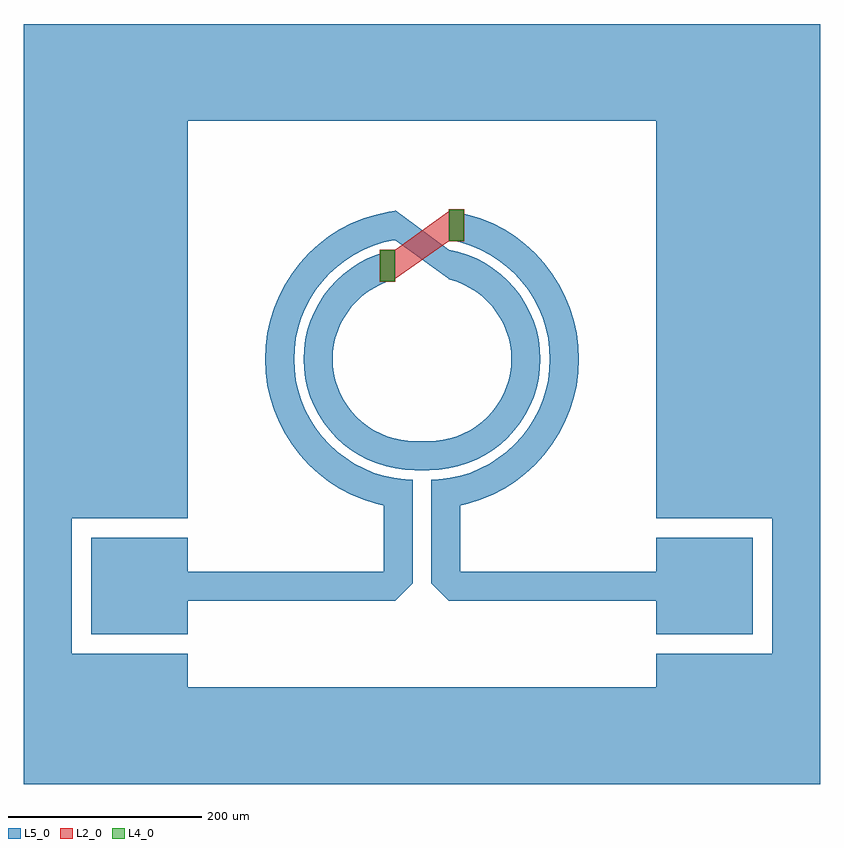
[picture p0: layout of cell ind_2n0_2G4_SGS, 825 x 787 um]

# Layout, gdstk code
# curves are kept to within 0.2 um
import gdstk
lib = gdstk.Library(unit=1e-6, precision=5e-10)
def R(c, l, rs):  # rectangles x0, y0, x1, y1
    for r in rs: c.add(gdstk.rectangle(r[:2], r[2:], *l))
def P(c, l, *ps):  # polygons
    for p in ps: c.add(gdstk.Polygon(p, *l))
L2_0 = (2, 0)
L4_0 = (4, 0)
L5_0 = (5, 0)

ind_2n0_2g4_sgs = lib.new_cell('ind_2n0_2G4_SGS')
R(ind_2n0_2g4_sgs, L2_0, [(-36,145,-20,178), (-36,148,-20,178), (35,187,51,220), (35,187,51,218)])
P(ind_2n0_2g4_sgs, L2_0, [(-20,148),(35,187),(35,218),(-20,178)])
R(ind_2n0_2g4_sgs, L4_0, [(-35.5,145.5,-20.5,177.5), (35.5,187.5,50.5,219.5)])
R(ind_2n0_2g4_sgs, L5_0, [(-405,-248,-355,-93), (370,-248,420,-93), (-335,-220,-235,-120), (250,-220,350,-120), (-32,-110,-2,-60), (17,-110,47,-60), (-405,-100,-235,335), (250,-100,420,335), (0,-50,15,-20), (-36,145,-20,178), (35,187,51,220), (-405,312,420,412)])
P(ind_2n0_2g4_sgs, L5_0, [(22.408,-19.6765),(29.76,-18.7085),(36.9995,-17.1035),(44.0715,-14.874),(50.9225,-12.036),(57.5,-8.612),(63.754,-4.628),(69.637,-0.114),(75.104,4.896),(80.114,10.363),(84.628,16.246),(88.612,22.5),(92.036,29.0775),(94.874,35.9285),(97.1035,43.0005),(98.7085,50.24),(99.6765,57.592),(100,65),(99.6765,72.408),(98.7085,79.76),(97.1035,86.9995),(94.874,94.0715),(92.036,100.9225),(88.612,107.5),(84.628,113.754),(80.114,119.637),(75.104,125.104),(69.637,130.114),(63.754,134.628),(57.5,138.612),(50.9225,142.036),(44.0715,144.874),(35,147.547),(35,178.246),(44.764,176.0815),(54.3325,173.0645),(63.601,169.2255),(72.5,164.593),(80.9615,159.2025),(88.9205,153.095),(96.3175,146.3175),(103.095,138.9205),(109.2025,130.9615),(114.593,122.5),(119.2255,113.601),(123.0645,104.3325),(126.0815,94.764),(128.253,84.9695),(129.5625,75.023),(130,65),(129.5625,54.977),(128.253,45.0305),(126.0815,35.236),(123.0645,25.6675),(119.2255,16.399),(114.593,7.5),(109.2025,-0.9615),(103.095,-8.9205),(96.3175,-16.3175),(88.9205,-23.095),(80.9615,-29.2025),(72.5,-34.593),(63.601,-39.2255),(54.3325,-43.0645),(44.764,-46.0815),(34.9695,-48.253),(25.023,-49.5625),(15,-50),(15,-20)],
  [(-20,219),(35,178),(35,148),(-20,188)],
  [(-7.408,-19.6765),(-14.76,-18.7085),(-21.9995,-17.1035),(-29.0715,-14.874),(-35.9225,-12.036),(-42.5,-8.612),(-48.754,-4.628),(-54.637,-0.114),(-60.104,4.896),(-65.114,10.363),(-69.628,16.246),(-73.612,22.5),(-77.036,29.0775),(-79.874,35.9285),(-82.1035,43.0005),(-83.7085,50.24),(-84.6765,57.592),(-85,65),(-84.6765,72.408),(-83.7085,79.76),(-82.1035,86.9995),(-79.874,94.0715),(-77.036,100.9225),(-73.612,107.5),(-69.628,113.754),(-65.114,119.637),(-60.104,125.104),(-54.637,130.114),(-48.754,134.628),(-42.5,138.612),(-35.9225,142.036),(-29.0715,144.874),(-20,147.547),(-20,178.246),(-29.764,176.0815),(-39.3325,173.0645),(-48.601,169.2255),(-57.5,164.593),(-65.9615,159.2025),(-73.9205,153.095),(-81.3175,146.3175),(-88.095,138.9205),(-94.2025,130.9615),(-99.593,122.5),(-104.2255,113.601),(-108.0645,104.3325),(-111.0815,94.764),(-113.253,84.9695),(-114.5625,75.023),(-115,65),(-114.5625,54.977),(-113.253,45.0305),(-111.0815,35.236),(-108.0645,25.6675),(-104.2255,16.399),(-99.593,7.5),(-94.2025,-0.9615),(-88.095,-8.9205),(-81.3175,-16.3175),(-73.9205,-23.095),(-65.9615,-29.2025),(-57.5,-34.593),(-48.601,-39.2255),(-39.3325,-43.0645),(-29.764,-46.0815),(-19.9695,-48.253),(-10.023,-49.5625),(0,-50),(0,-20)],
  [(-20,218.5555),(-26.9155,217.645),(-40.117,214.7185),(-53.013,210.6525),(-65.506,205.4775),(-77.5,199.234),(-88.9045,191.9685),(-99.632,183.737),(-109.6015,174.6015),(-118.737,164.632),(-126.9685,153.9045),(-134.234,142.5),(-140.4775,130.506),(-145.6525,118.013),(-149.7185,105.117),(-152.645,91.9155),(-154.41,78.509),(-155,65),(-154.41,51.491),(-152.645,38.0845),(-149.7185,24.883),(-145.6525,11.987),(-140.4775,-0.506),(-134.234,-12.5),(-126.9685,-23.9045),(-118.737,-34.632),(-109.6015,-44.6015),(-99.632,-53.737),(-88.9045,-61.9685),(-77.5,-69.234),(-65.506,-75.4775),(-53.013,-80.6525),(-40.117,-84.7185),(-26.9155,-87.645),(-13.509,-89.41),(-10,-89.5635),(-10,-59.5635),(-21.706,-58.101),(-32.3525,-55.7405),(-42.7525,-52.4615),(-52.8275,-48.2885),(-62.5,-43.253),(-71.697,-37.394),(-80.3485,-30.7555),(-88.3885,-23.3885),(-95.7555,-15.3485),(-102.394,-6.697),(-108.253,2.5),(-113.2885,12.1725),(-117.4615,22.2475),(-120.7405,32.6475),(-123.101,43.294),(-124.5245,54.1055),(-125,65),(-124.5245,75.8945),(-123.101,86.706),(-120.7405,97.3525),(-117.4615,107.7525),(-113.2885,117.8275),(-108.253,127.5),(-102.394,136.697),(-95.7555,145.3485),(-88.3885,153.3885),(-80.3485,160.7555),(-71.697,167.394),(-62.5,173.253),(-52.8275,178.2885),(-42.7525,182.4615),(-32.3525,185.7405),(-20,188.3255)],
  [(35,188.3255),(47.3525,185.7405),(57.7525,182.4615),(67.8275,178.2885),(77.5,173.253),(86.697,167.394),(95.3485,160.7555),(103.3885,153.3885),(110.7555,145.3485),(117.394,136.697),(123.253,127.5),(128.2885,117.8275),(132.4615,107.7525),(135.7405,97.3525),(138.101,86.706),(139.5245,75.8945),(140,65),(139.5245,54.1055),(138.101,43.294),(135.7405,32.6475),(132.4615,22.2475),(128.2885,12.1725),(123.253,2.5),(117.394,-6.697),(110.7555,-15.3485),(103.3885,-23.3885),(95.3485,-30.7555),(86.697,-37.394),(77.5,-43.253),(67.8275,-48.2885),(57.7525,-52.4615),(47.3525,-55.7405),(36.706,-58.101),(25,-59.5635),(25,-89.5635),(28.509,-89.41),(41.9155,-87.645),(55.117,-84.7185),(68.013,-80.6525),(80.506,-75.4775),(92.5,-69.234),(103.9045,-61.9685),(114.632,-53.737),(124.6015,-44.6015),(133.737,-34.632),(141.9685,-23.9045),(149.234,-12.5),(155.4775,-0.506),(160.6525,11.987),(164.7185,24.883),(167.645,38.0845),(169.41,51.491),(170,65),(169.41,78.509),(167.645,91.9155),(164.7185,105.117),(160.6525,118.013),(155.4775,130.506),(149.234,142.5),(141.9685,153.9045),(133.737,164.632),(124.6015,174.6015),(114.632,183.737),(103.9045,191.9685),(92.5,199.234),(80.506,205.4775),(68.013,210.6525),(55.117,214.7185),(41.9155,217.645),(35,218.5555)],
  [(-405,-375),(420,-375),(420,-240),(250,-240),(250,-275),(-235,-275),(-235,-240),(-405,-240)],
  [(260,-155),(47,-155),(47,-110),(17,-110),(17,-167),(35,-185),(260,-185)],
  [(-245,-155),(-32,-155),(-32,-110),(-2,-110),(-2,-167),(-20,-185),(-245,-185)])

lib.write_gds('ind_2n0_2G4_SGS.gds')
